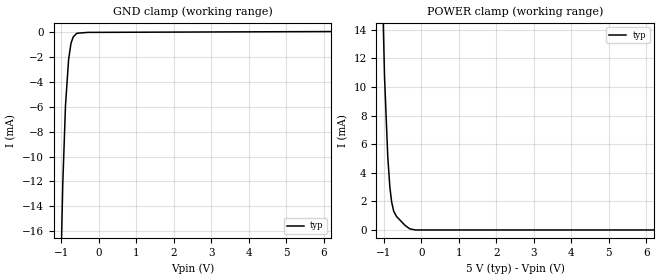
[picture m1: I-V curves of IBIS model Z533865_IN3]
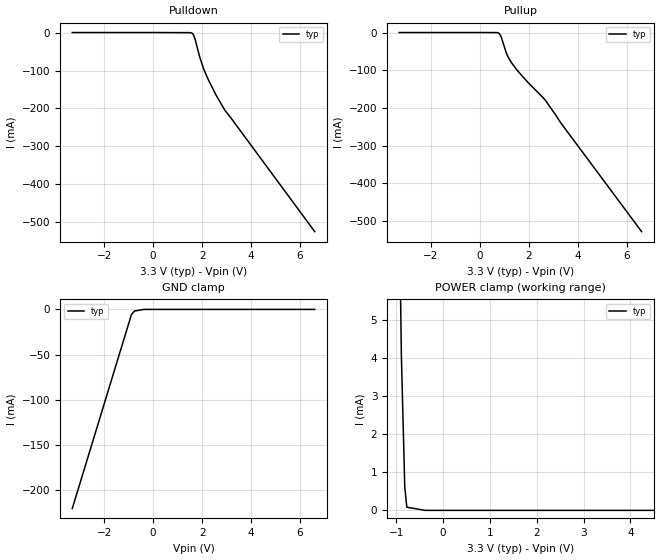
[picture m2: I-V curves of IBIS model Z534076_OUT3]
| YOU ARE ONLY AUTHORIZED TO USE THIS SOFTWARE
| ACCORDING TO LICENSOR'S LICENSE RESTRICTIONS.
[IBIS Ver] 3.1
[File Name] mc100lvel92dw.ibs
[File Rev] 2
[Source] Derived from mc100lvel17dw_3_3.ibs and mc100el13dw_pecl.ibs
|   Measured and created by ICX Technology
[Date] 2/9/2004
[Copyright]
| (C) COPYRIGHT 1993-2000
| MENTOR GRAPHICS CORPORATION
| ICX STANDARD LIBRARY, ICX PROJECT MODELING,
| ICX CUSTOM MODELING, ICX VENDOR MODEL
| ALL RIGHTS RESERVED.
| THE FOLLOWING ARE TRADEMARKS OR SERVICE MARKS OF
| MENTOR GRAPHICS CORPORATION:ICX (R), ICX STANDARD
| LIBRARY(R), ICX PROJECT MODELING(R), ICX CUSTOM
| MODELING(R), qualityIBIS(TM), MODELVIEWER(TM),
| AND MODELEDITOR(TM)
| ALL COPIES OF SOFTWARE, INCLUDING BUT NOT LIMITED TO
| ANY MODIFICATIONS, ENHANCEMENTS OR DERIVATIVE WORKS,
| MUST CONTAIN ALL MENTOR GRAPHICS CORPORATION'S
| NOTICES AND LEGENDS, INCLUDING THOSE EMBEDDED IN
| SOFTWARE AND THOSE AFFIXED TO SOFTWARE MEDIUM
| AND CONTAINER, AS RECEIVED FROM MENTOR GRAPHICS
| CORPORATION.
|  ZAP Model Builder 2.7
[Component] mc100lvel92dw
[Manufacturer] OnSemiconductor
[Package]
| variable   typ   min   max
R_pkg  .158ohms NA NA
L_pkg  3.37nH NA NA
C_pkg  .4pF NA NA
[Pin] signal_name  model_name  R_pin  L_pin C_pin
1 VCC POWER .158 3.36n .4p
2 D0 Z533865_IN3 .154 2.93n .38p
3 _D0 Z533865_IN4 .15 2.51n .36p
4 VBB POWER .186 5.37n .68p
5 D1 Z533865_IN3 .154 2.93n .38p
6 _D1 Z533865_IN4 .15 2.51n .36p
7 VBB POWER .186 5.37n .68p
8 D2 Z533865_IN3 .154 2.93n .38p
9 _D2 Z533865_IN4 .15 2.51n .36p
10 GND POWER .166 4.25n .44p
11 VCC POWER .158 3.36n .4p
12 _Q2 Z534076_OUT3 .178 4.42n .62p
13 Q2 Z534076_OUT3 .182 4.89n .65p
14 LVCC POWER .158 3.36n .4p
15 _Q1 Z534076_OUT3 .178 4.42n .62p
16 Q1 Z534076_OUT3 .182 4.89n .65p
17 LVCC POWER .158 3.36n .4p
18 _Q0 Z534076_OUT3 .178 4.42n .62p
19 Q0 Z534076_OUT3 .182 4.89n .65p
20 VCC POWER .158 3.36n .4p
| Models and submodels in the file (3): Z533865_IN3 (Input), Z533865_IN4 (Input), Z534076_OUT3 (Output_ECL)
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| (C) COPYRIGHT 1993-2000
| MENTOR GRAPHICS CORPORATION
| ICX STANDARD LIBRARY, ICX PROJECT MODELING,
| ICX CUSTOM MODELING, ICX VENDOR MODEL
| ALL RIGHTS RESERVED.
| THE FOLLOWING ARE TRADEMARKS OR SERVICE MARKS OF
| MENTOR GRAPHICS CORPORATION:ICX (R), ICX STANDARD
| LIBRARY(R), ICX PROJECT MODELING(R), ICX CUSTOM
| MODELING(R), qualityIBIS(TM), MODELVIEWER(TM),
| AND MODELEDITOR(TM)
| ALL COPIES OF SOFTWARE, INCLUDING BUT NOT LIMITED TO
| ANY MODIFICATIONS, ENHANCEMENTS OR DERIVATIVE WORKS,
| MUST CONTAIN ALL MENTOR GRAPHICS CORPORATION'S
| NOTICES AND LEGENDS, INCLUDING THOSE EMBEDDED IN
| SOFTWARE AND THOSE AFFIXED TO SOFTWARE MEDIUM
| AND CONTAINER, AS RECEIVED FROM MENTOR GRAPHICS
| CORPORATION.
| Model Application Version 1.89 2/18/99.
[Model] Z533865_IN3
Model_type Input
Vinl = 2.700V
Vinh = 3.700V
C_comp 2.000pF NA NA
| variable typ   min   max
[Voltage Range] 5.000V NA NA
[GND Clamp Reference] 0.000V NA NA
[POWER Clamp Reference] 5.000V NA NA
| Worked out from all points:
|   GND clamp passes 1 mA (typ) near -0.75 V on its own axis
|   POWER clamp passes 1 mA (typ) near -0.67 V on its own axis
[GND Clamp]
-5V       -563.8mA   NA         NA
-961.6mV  -12.23mA   NA         NA
-888.7mV  -5.901mA   NA         NA
-805.7mV  -2.188mA   NA         NA
-741.7mV  -888.4uA   NA         NA
-683.1mV  -386.7uA   NA         NA
-586.7mV  -87.81uA   NA         NA
-293.4mV  -18.35uA   NA         NA
10V       90.15uA    NA         NA
[POWER Clamp]
-5V       455.3mA    NA         NA
-981mV    10.7mA     NA         NA
-895mV    5.142mA    NA         NA
-840mV    3.03mA     NA         NA
-791mV    1.952mA    NA         NA
-736mV    1.307mA    NA         NA
-660mV    939.4uA    NA         NA
-430mV    313.3uA    NA         NA
-309mV    79.1uA     NA         NA
-154.5mV  0A         NA         NA
10V       0A         NA         NA
| (C) COPYRIGHT 1993-2000
| MENTOR GRAPHICS CORPORATION
| ICX STANDARD LIBRARY, ICX PROJECT MODELING,
| ICX CUSTOM MODELING, ICX VENDOR MODEL
| ALL RIGHTS RESERVED.
| THE FOLLOWING ARE TRADEMARKS OR SERVICE MARKS OF
| MENTOR GRAPHICS CORPORATION:ICX (R), ICX STANDARD
| LIBRARY(R), ICX PROJECT MODELING(R), ICX CUSTOM
| MODELING(R), qualityIBIS(TM), MODELVIEWER(TM),
| AND MODELEDITOR(TM)
| ALL COPIES OF SOFTWARE, INCLUDING BUT NOT LIMITED TO
| ANY MODIFICATIONS, ENHANCEMENTS OR DERIVATIVE WORKS,
| MUST CONTAIN ALL MENTOR GRAPHICS CORPORATION'S
| NOTICES AND LEGENDS, INCLUDING THOSE EMBEDDED IN
| SOFTWARE AND THOSE AFFIXED TO SOFTWARE MEDIUM
| AND CONTAINER, AS RECEIVED FROM MENTOR GRAPHICS
| CORPORATION.
| Model Application Version 1.89 2/18/99.
[Model] Z534076_OUT3
Model_type Output_ECL
Vref=0.000V
Rref=50.00ohms
Cref=0.000F
Vmeas=2.207V
C_comp 2.000pF NA NA
| variable typ   min   max
[Voltage Range] 3.300V NA NA
[POWER Clamp Reference] 3.300V NA NA
[Pullup Reference] 3.300V NA NA
[Pulldown Reference] 3.300V NA NA
[GND Clamp Reference] 0.000V NA NA
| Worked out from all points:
|   POWER clamp passes 1 mA (typ) near -0.83 V on its own axis
[GND Clamp]
-3.3V     -220.6mA   NA         NA
-885.8mV  -5.811mA   NA         NA
-761.4mV  -1.812mA   NA         NA
-380.7mV  0A         NA         NA
6.6V      0A         NA         NA
[Pulldown]
-3.3V     277.2uA    NA         NA
1.595V    -1.533mA   NA         NA
1.65V     -6.019mA   NA         NA
1.718V    -18.2mA    NA         NA
1.905V    -64.74mA   NA         NA
2.07V     -96.83mA   NA         NA
2.26V     -124.9mA   NA         NA
2.573V    -165.2mA   NA         NA
2.929V    -204.6mA   NA         NA
6.6V      -525.1mA   NA         NA
[Pullup]
-3.3V     263.4uA    NA         NA
680mV     110.2uA    NA         NA
795mV     -2.69mA    NA         NA
868mV     -11.63mA   NA         NA
1.078V    -54.63mA   NA         NA
1.29V     -80.11mA   NA         NA
1.747V    -116.9mA   NA         NA
2.679V    -180.3mA   NA         NA
3.291V    -238.7mA   NA         NA
6.6V      -528.1mA   NA         NA
[POWER Clamp]
-3.3V     560.9mA    NA         NA
-1.072V   24.39mA    NA         NA
-1.005V   14.48mA    NA         NA
-894mV    4.104mA    NA         NA
-821mV    617.7uA    NA         NA
-777mV    83.4uA     NA         NA
-388.5mV  0A         NA         NA
6.6V      0A         NA         NA
[Ramp]
| variable typ min max
dV/dt_r 486.8m/169.8p NA NA
dV/dt_f 486.8m/178.4p NA NA
R_load = 50.0Ohms
